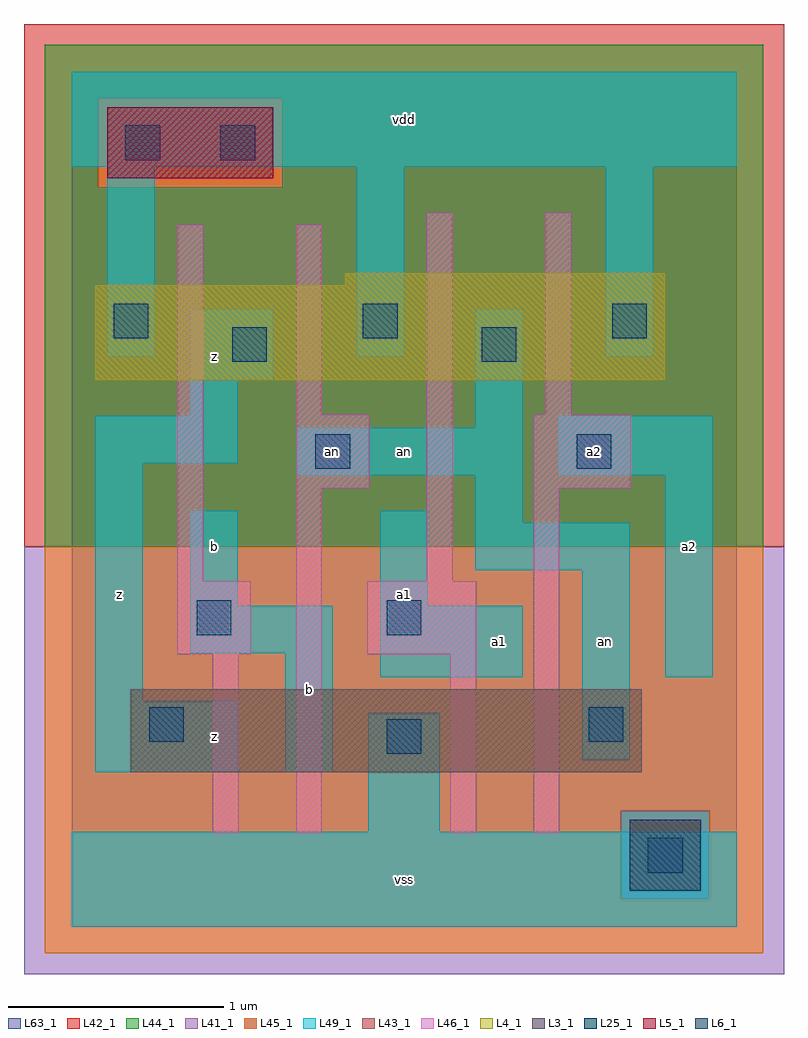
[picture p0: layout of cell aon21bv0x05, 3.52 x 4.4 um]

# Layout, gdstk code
import gdstk
lib = gdstk.Library(unit=1e-6, precision=1e-09)
def R(c, l, rs):  # rectangles x0, y0, x1, y1
    for r in rs: c.add(gdstk.rectangle(r[:2], r[2:], *l))
def A(c, l, x, y, w, h, nx, ny, dx, dy):  # array of equal rectangles
    R(c, l, [(x+i*dx, y+j*dy, x+i*dx+w, y+j*dy+h) for i in range(nx) for j in range(ny)])
L3_1 = (3, 1)
L4_1 = (4, 1)
L5_1 = (5, 1)
L6_1 = (6, 1)
L25_1 = (25, 1)
L41_1 = (41, 1)
L42_1 = (42, 1)
L43_1 = (43, 1)
L44_1 = (44, 1)
L45_1 = (45, 1)
L46_1 = (46, 1)
L49_1 = (49, 1)
L63_1 = (63, 1)

aon21bv0x05 = lib.new_cell('aon21bv0x05')
R(aon21bv0x05, L3_1, [(0.275,0.715,2.64,1.1)])
R(aon21bv0x05, L4_1, [(0.11,2.53,2.75,2.97), (1.265,2.97,2.75,3.025)])
R(aon21bv0x05, L5_1, [(0.165,3.465,0.935,3.795)])
R(aon21bv0x05, L6_1, [(2.585,0.165,2.915,0.495)])
A(aon21bv0x05, L25_1, 0.195, 2.725, 0.16, 0.16, 3, 1, 1.155, 0)
R(aon21bv0x05, L25_1, [(2.67,0.25,2.83,0.41), (1.46,0.8,1.62,0.96), (0.36,0.855,0.52,1.015), (2.395,0.855,2.555,1.015), (0.58,1.35,0.74,1.51), (1.46,1.35,1.62,1.51), (1.13,2.12,1.29,2.28), (2.34,2.12,2.5,2.28), (0.745,2.615,0.905,2.775), (1.9,2.615,2.06,2.775), (0.25,3.55,0.41,3.71), (0.69,3.55,0.85,3.71)])
R(aon21bv0x05, L41_1, [(-0.22,-0.22,3.3,1.76)])
R(aon21bv0x05, L42_1, [(-0.22,1.76,3.3,4.18)])
R(aon21bv0x05, L43_1, [(2.585,0.165,2.915,0.495), (0.275,0.715,2.64,1.1), (0.11,2.53,2.75,2.97), (1.265,2.97,2.75,3.025), (0.165,3.465,0.935,3.795)])
R(aon21bv0x05, L44_1, [(2.545,0.125,2.955,0.535), (-0.125,1.76,3.205,3.425), (-0.125,3.425,0.125,3.835), (0.975,3.425,3.205,3.835), (-0.125,3.835,3.205,4.085)])
R(aon21bv0x05, L45_1, [(-0.125,-0.125,3.205,0.125), (-0.125,0.125,2.545,0.535), (2.955,0.125,3.205,0.535), (-0.125,0.535,3.205,1.76), (0.125,3.425,0.975,3.835)])
R(aon21bv0x05, L46_1, [(0.655,0.435,0.775,1.26), (1.04,0.435,1.16,2.03), (1.755,0.435,1.875,1.26), (2.14,0.435,2.26,2.03), (0.49,1.26,0.83,1.6), (1.37,1.26,1.875,1.6), (0.49,1.6,0.61,3.25), (1.645,1.6,1.765,3.305), (1.04,2.03,1.38,2.37), (2.14,2.03,2.59,2.37), (1.04,2.37,1.16,3.25), (2.195,2.37,2.315,3.305)])
A(aon21bv0x05, L49_1, 0.165, 2.64, 0.22, 0.88, 3, 1, 1.155, 0)
R(aon21bv0x05, L49_1, [(0,0,3.08,0.44), (1.375,0.44,1.705,0.99), (0.11,0.715,0.77,1.045), (0.99,0.715,1.21,1.265), (2.365,0.77,2.585,1.65), (0.11,1.045,0.33,2.145), (1.43,1.155,2.09,1.485), (2.75,1.155,2.97,2.09), (0.55,1.265,1.21,1.485), (0.55,1.485,0.77,1.925), (1.43,1.485,1.65,1.925), (1.87,1.65,2.585,1.87), (1.87,1.87,2.09,2.09), (1.045,2.09,2.09,2.31), (2.255,2.09,2.97,2.365), (0.11,2.145,0.77,2.365), (1.87,2.31,2.09,2.86), (0.55,2.365,0.77,2.53), (0.55,2.53,0.935,2.86), (0,3.52,3.08,3.96)])
R(aon21bv0x05, L63_1, [(0,0,3.08,3.96)])
aon21bv0x05.add(gdstk.Label('an', (1.21,2.2), layer=49, texttype=1))
aon21bv0x05.add(gdstk.Label('z', (0.22,1.54), layer=49, texttype=1))
aon21bv0x05.add(gdstk.Label('b', (1.1,1.1), layer=49, texttype=1))
aon21bv0x05.add(gdstk.Label('z', (0.66,0.88), layer=49, texttype=1))
aon21bv0x05.add(gdstk.Label('b', (0.66,1.76), layer=49, texttype=1))
aon21bv0x05.add(gdstk.Label('z', (0.66,2.64), layer=49, texttype=1))
aon21bv0x05.add(gdstk.Label('vss', (1.54,0.22), layer=49, texttype=1))
aon21bv0x05.add(gdstk.Label('a1', (1.54,1.54), layer=49, texttype=1))
aon21bv0x05.add(gdstk.Label('a1', (1.98,1.32), layer=49, texttype=1))
aon21bv0x05.add(gdstk.Label('an', (1.54,2.2), layer=49, texttype=1))
aon21bv0x05.add(gdstk.Label('vdd', (1.54,3.74), layer=49, texttype=1))
aon21bv0x05.add(gdstk.Label('an', (2.475,1.32), layer=49, texttype=1))
aon21bv0x05.add(gdstk.Label('a2', (2.86,1.76), layer=49, texttype=1))
aon21bv0x05.add(gdstk.Label('a2', (2.42,2.2), layer=49, texttype=1))

lib.write_gds('aon21bv0x05.gds')
